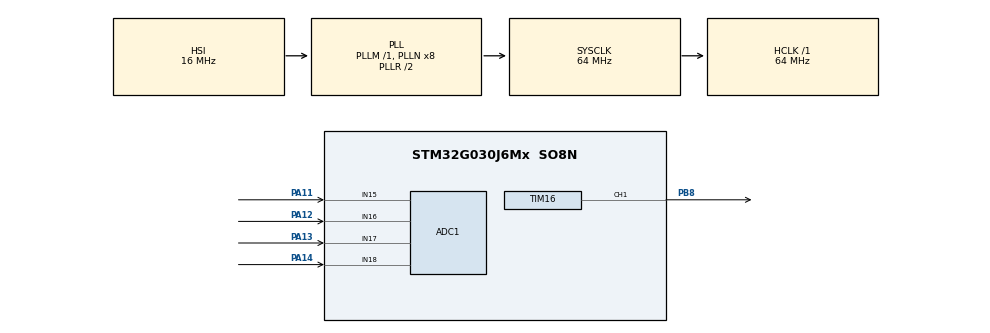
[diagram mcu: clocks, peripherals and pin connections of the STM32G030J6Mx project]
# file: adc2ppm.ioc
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ADC1.NbrOfConversion=1
ADC1.NbrOfConversionFlag=0
ADC1.SamplingTimeCommon1=ADC_SAMPLETIME_19CYCLES_5
ADC1.SelectedChannel=ADC_CHANNEL_15|ADC_CHANNEL_16|ADC_CHANNEL_17|ADC_CHANNEL_18
ADC1.Sequencer=NOT_FULLY_CONFIGURABLE
ADC1.master=1
Dma.ADC1.0.Direction=DMA_PERIPH_TO_MEMORY
Dma.ADC1.0.EventEnable=DISABLE
Dma.ADC1.0.Instance=DMA1_Channel1
Dma.ADC1.0.MemDataAlignment=DMA_MDATAALIGN_HALFWORD
Dma.ADC1.0.MemInc=DMA_MINC_ENABLE
Dma.ADC1.0.Mode=DMA_NORMAL
Dma.ADC1.0.PeriphDataAlignment=DMA_PDATAALIGN_HALFWORD
Dma.ADC1.0.PeriphInc=DMA_PINC_DISABLE
Dma.ADC1.0.Polarity=HAL_DMAMUX_REQ_GEN_RISING
Dma.ADC1.0.Priority=DMA_PRIORITY_LOW
Dma.ADC1.0.RequestNumber=1
Dma.ADC1.0.SignalID=NONE
Dma.ADC1.0.SyncEnable=DISABLE
Dma.ADC1.0.SyncPolarity=HAL_DMAMUX_SYNC_NO_EVENT
Dma.ADC1.0.SyncRequestNumber=1
Dma.ADC1.0.SyncSignalID=NONE
Dma.Request0=ADC1
Mcu.Family=STM32G0
Mcu.Name=STM32G030J6Mx
Mcu.Package=SO8N
NRST__PA0__PA1__PA2.StandardMode=true
NVIC.DMA1_Channel1_IRQn=true\:0\:0\:false\:false\:true\:false\:true\:true
NVIC.TIM16_IRQn=true\:0\:0\:false\:false\:true\:true\:true\:true
PA11\ [PA9].Mode=IN15
PA11\ [PA9].Signal=ADC1_IN15
PA12\ [PA10].Mode=IN16
PA12\ [PA10].Signal=ADC1_IN16
PA13.Mode=IN17
PA13.Signal=ADC1_IN17
PA14-BOOT0.Mode=IN18
PA14-BOOT0.Signal=ADC1_IN18
PA14-BOOT0__PA15__PB5__PB6.StandardMode=true
PB0__PB1__PA8__PA11\ [PA9].StandardMode=true
PB8.Signal=S_TIM16_CH1
PC14-OSC32_IN\ (PC14)__PB7__PB8__PB9.StandardMode=true
ProjectManager.HeapSize=0x200
ProjectManager.StackSize=0x400
ProjectManager.TargetToolchain=Makefile
RCC.ADCFreq_Value=64000000
RCC.AHBFreq_Value=64000000
RCC.CortexFreq_Value=64000000
RCC.EXTERNAL_CLOCK_VALUE=12288000
RCC.HCLKFreq_Value=64000000
RCC.HSE_VALUE=8000000
RCC.HSI_VALUE=16000000
RCC.LSE_VALUE=32768
RCC.SYSCLKFreq_VALUE=64000000
RCC.SYSCLKSource=RCC_SYSCLKSOURCE_PLLCLK
RCC.VCOOutputFreq_Value=128000000
SH.S_TIM16_CH1.0=TIM16_CH1,Output Compare1 CH1
TIM16.AutoReloadPreload=TIM_AUTORELOAD_PRELOAD_ENABLE
TIM16.Channel=TIM_CHANNEL_1
TIM16.OC1Preload=ENABLE
TIM16.OCIdleState_1=TIM_OCIDLESTATE_RESET
TIM16.OCMode_1=TIM_OCMODE_TOGGLE
TIM16.OCPolarity_1=TIM_OCPOLARITY_HIGH
TIM16.Prescaler=15
TIM16.Pulse=0
VP_TIM16_VS_ClockSourceINT.Mode=Enable_Timer
board=custom

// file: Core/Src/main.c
/* USER CODE BEGIN Header */
/**
 ******************************************************************************
 * @file           : main.c
 * @brief          : Main program body
 ******************************************************************************
 * @attention
 *
 * Copyright (c) 2023 STMicroelectronics.
 * All rights reserved.
 *
 * This software is licensed under terms that can be found in the LICENSE file
 * in the root directory of this software component.
 * If no LICENSE file comes with this software, it is provided AS-IS.
 *
 ******************************************************************************
 */
/* USER CODE END Header */
#include "main.h"

/* USER CODE BEGIN Includes */
#include <stdbool.h>
#include <stdint.h>
/* USER CODE END Includes */

/* USER CODE BEGIN PD */
#define CHANNELS 8
#define PERIODS ((CHANNELS + 1) * 2)

#define P_INDEX (1333)		 // 300us
#define P_H (8000 - P_INDEX) // 2000ms
#define P_M (6000 - P_INDEX) // 1500ms
#define P_L (4000 - P_INDEX) // 1000ms

#define ADC_LO 800
#define ADC_HI 3160

/* USER CODE END PD */

ADC_HandleTypeDef hadc1;
DMA_HandleTypeDef hdma_adc1;

TIM_HandleTypeDef htim16;

/* USER CODE BEGIN PV */
static volatile uint32_t pattern[PERIODS];
static volatile bool upd_request = false;
static volatile uint16_t adc_values[4] = {0};
/* USER CODE END PV */

void SystemClock_Config(void);
static void MX_GPIO_Init(void);
static void MX_DMA_Init(void);
static void MX_ADC1_Init(void);
static void MX_TIM16_Init(void);

/* USER CODE BEGIN 0 */
static uint32_t map(uint32_t x, uint32_t in_min, uint32_t in_max, uint32_t out_min, uint32_t out_max)
{
	if(x < in_min) x = in_min;
	if(x > in_max) x = in_max;
	return (x - in_min) * (out_max - out_min) / (in_max - in_min) + out_min;
}

static void calc_fill(void)
{
#define MAX_TIM_CLK 80000 // equal to 20ms
	volatile uint32_t fill = 0;
	for(volatile uint32_t i = 0; i < PERIODS - 1; i++)
	{
		fill += pattern[i];
	}
	pattern[PERIODS - 1] = MAX_TIM_CLK - fill;
}

void tim_irq(void)
{
	static volatile uint32_t phase = 0;

	TIM16->ARR = pattern[phase];

	if(++phase >= PERIODS)
	{
		phase = 0;

		pattern[1] = map(adc_values[3], ADC_LO, ADC_HI, P_L, P_H);
		pattern[3] = map(adc_values[1], ADC_LO, ADC_HI, P_L, P_H);
		pattern[5] = map(adc_values[2], ADC_LO, ADC_HI, P_L, P_H);
		pattern[7] = map(adc_values[0], ADC_LO, ADC_HI, P_L, P_H);
		calc_fill();

		upd_request = true;
	}
}
/* USER CODE END 0 */

int main(void)
{

	/* MCU Configuration--------------------------------------------------------*/

	/* Reset of all peripherals, Initializes the Flash interface and the Systick. */
	HAL_Init();

	/* Configure the system clock */
	SystemClock_Config();

	/* Initialize all configured peripherals */
	MX_GPIO_Init();
	MX_DMA_Init();
	MX_ADC1_Init();
	MX_TIM16_Init();

	/* Infinite loop */
	/* USER CODE BEGIN WHILE */

	for(uint32_t i = 0; i < PERIODS - 1; i++)
	{
		pattern[i] = i & 1 ? P_M : P_INDEX;
	}
	calc_fill();

	HAL_ADCEx_Calibration_Start(&hadc1);

	HAL_TIM_OC_Start_IT(&htim16, TIM_CHANNEL_1);
	while(1)
	{
		if(upd_request)
		{
			HAL_ADC_Start_DMA(&hadc1, (uint32_t *)&adc_values, 4);
			upd_request = false;
		}
		/* USER CODE END WHILE */

	}
}

void SystemClock_Config(void)
{
	RCC_OscInitTypeDef RCC_OscInitStruct = {0};
	RCC_ClkInitTypeDef RCC_ClkInitStruct = {0};

	/** Configure the main internal regulator output voltage
	 */
	HAL_PWREx_ControlVoltageScaling(PWR_REGULATOR_VOLTAGE_SCALE1);

	/** Initializes the RCC Oscillators according to the specified parameters
	 * in the RCC_OscInitTypeDef structure.
	 */
	RCC_OscInitStruct.OscillatorType = RCC_OSCILLATORTYPE_HSI;
	RCC_OscInitStruct.HSIState = RCC_HSI_ON;
	RCC_OscInitStruct.HSIDiv = RCC_HSI_DIV1;
	RCC_OscInitStruct.HSICalibrationValue = RCC_HSICALIBRATION_DEFAULT;
	RCC_OscInitStruct.PLL.PLLState = RCC_PLL_ON;
	RCC_OscInitStruct.PLL.PLLSource = RCC_PLLSOURCE_HSI;
	RCC_OscInitStruct.PLL.PLLM = RCC_PLLM_DIV1;
	RCC_OscInitStruct.PLL.PLLN = 8;
	RCC_OscInitStruct.PLL.PLLP = RCC_PLLP_DIV2;
	RCC_OscInitStruct.PLL.PLLR = RCC_PLLR_DIV2;
	if(HAL_RCC_OscConfig(&RCC_OscInitStruct) != HAL_OK)
	{
		Error_Handler();
	}

	/** Initializes the CPU, AHB and APB buses clocks
	 */
	RCC_ClkInitStruct.ClockType = RCC_CLOCKTYPE_HCLK | RCC_CLOCKTYPE_SYSCLK | RCC_CLOCKTYPE_PCLK1;
	RCC_ClkInitStruct.SYSCLKSource = RCC_SYSCLKSOURCE_PLLCLK;
	RCC_ClkInitStruct.AHBCLKDivider = RCC_SYSCLK_DIV1;
	RCC_ClkInitStruct.APB1CLKDivider = RCC_HCLK_DIV1;

	if(HAL_RCC_ClockConfig(&RCC_ClkInitStruct, FLASH_LATENCY_2) != HAL_OK)
	{
		Error_Handler();
	}
}

static void MX_ADC1_Init(void)
{

	ADC_ChannelConfTypeDef sConfig = {0};

	/** Configure the global features of the ADC (Clock, Resolution, Data Alignment and number of conversion)
	 */
	hadc1.Instance = ADC1;
	hadc1.Init.ClockPrescaler = ADC_CLOCK_SYNC_PCLK_DIV2;
	hadc1.Init.Resolution = ADC_RESOLUTION_12B;
	hadc1.Init.DataAlign = ADC_DATAALIGN_RIGHT;
	hadc1.Init.ScanConvMode = ADC_SCAN_SEQ_FIXED;
	hadc1.Init.EOCSelection = ADC_EOC_SINGLE_CONV;
	hadc1.Init.LowPowerAutoWait = DISABLE;
	hadc1.Init.LowPowerAutoPowerOff = DISABLE;
	hadc1.Init.ContinuousConvMode = DISABLE;
	hadc1.Init.NbrOfConversion = 1;
	hadc1.Init.DiscontinuousConvMode = DISABLE;
	hadc1.Init.ExternalTrigConv = ADC_SOFTWARE_START;
	hadc1.Init.ExternalTrigConvEdge = ADC_EXTERNALTRIGCONVEDGE_NONE;
	hadc1.Init.DMAContinuousRequests = DISABLE;
	hadc1.Init.Overrun = ADC_OVR_DATA_PRESERVED;
	hadc1.Init.SamplingTimeCommon1 = ADC_SAMPLETIME_19CYCLES_5;
	hadc1.Init.OversamplingMode = DISABLE;
	hadc1.Init.TriggerFrequencyMode = ADC_TRIGGER_FREQ_HIGH;
	if(HAL_ADC_Init(&hadc1) != HAL_OK)
	{
		Error_Handler();
	}

	/** Configure Regular Channel
	 */
	sConfig.Channel = ADC_CHANNEL_15;
	sConfig.Rank = ADC_RANK_CHANNEL_NUMBER;
	if(HAL_ADC_ConfigChannel(&hadc1, &sConfig) != HAL_OK)
	{
		Error_Handler();
	}

	/** Configure Regular Channel
	 */
	sConfig.Channel = ADC_CHANNEL_16;
	if(HAL_ADC_ConfigChannel(&hadc1, &sConfig) != HAL_OK)
	{
		Error_Handler();
	}

	/** Configure Regular Channel
	 */
	sConfig.Channel = ADC_CHANNEL_17;
	if(HAL_ADC_ConfigChannel(&hadc1, &sConfig) != HAL_OK)
	{
		Error_Handler();
	}

	/** Configure Regular Channel
	 */
	sConfig.Channel = ADC_CHANNEL_18;
	if(HAL_ADC_ConfigChannel(&hadc1, &sConfig) != HAL_OK)
	{
		Error_Handler();
	}
}

static void MX_TIM16_Init(void)
{

	TIM_OC_InitTypeDef sConfigOC = {0};
	TIM_BreakDeadTimeConfigTypeDef sBreakDeadTimeConfig = {0};

	htim16.Instance = TIM16;
	htim16.Init.Prescaler = 15;
	htim16.Init.CounterMode = TIM_COUNTERMODE_UP;
	htim16.Init.Period = 65535;
	htim16.Init.ClockDivision = TIM_CLOCKDIVISION_DIV1;
	htim16.Init.RepetitionCounter = 0;
	htim16.Init.AutoReloadPreload = TIM_AUTORELOAD_PRELOAD_ENABLE;
	if(HAL_TIM_Base_Init(&htim16) != HAL_OK)
	{
		Error_Handler();
	}
	if(HAL_TIM_OC_Init(&htim16) != HAL_OK)
	{
		Error_Handler();
	}
	sConfigOC.OCMode = TIM_OCMODE_TOGGLE;
	sConfigOC.Pulse = 0;
	sConfigOC.OCPolarity = TIM_OCPOLARITY_HIGH;
	sConfigOC.OCNPolarity = TIM_OCNPOLARITY_HIGH;
	sConfigOC.OCFastMode = TIM_OCFAST_DISABLE;
	sConfigOC.OCIdleState = TIM_OCIDLESTATE_RESET;
	sConfigOC.OCNIdleState = TIM_OCNIDLESTATE_RESET;
	if(HAL_TIM_OC_ConfigChannel(&htim16, &sConfigOC, TIM_CHANNEL_1) != HAL_OK)
	{
		Error_Handler();
	}
	__HAL_TIM_ENABLE_OCxPRELOAD(&htim16, TIM_CHANNEL_1);
	sBreakDeadTimeConfig.OffStateRunMode = TIM_OSSR_DISABLE;
	sBreakDeadTimeConfig.OffStateIDLEMode = TIM_OSSI_DISABLE;
	sBreakDeadTimeConfig.LockLevel = TIM_LOCKLEVEL_OFF;
	sBreakDeadTimeConfig.DeadTime = 0;
	sBreakDeadTimeConfig.BreakState = TIM_BREAK_DISABLE;
	sBreakDeadTimeConfig.BreakPolarity = TIM_BREAKPOLARITY_HIGH;
	sBreakDeadTimeConfig.BreakFilter = 0;
	sBreakDeadTimeConfig.AutomaticOutput = TIM_AUTOMATICOUTPUT_DISABLE;
	if(HAL_TIMEx_ConfigBreakDeadTime(&htim16, &sBreakDeadTimeConfig) != HAL_OK)
	{
		Error_Handler();
	}
	HAL_TIM_MspPostInit(&htim16);
}

static void MX_DMA_Init(void)
{

	/* DMA controller clock enable */
	__HAL_RCC_DMA1_CLK_ENABLE();

	/* DMA interrupt init */
	/* DMA1_Channel1_IRQn interrupt configuration */
	HAL_NVIC_SetPriority(DMA1_Channel1_IRQn, 0, 0);
	HAL_NVIC_EnableIRQ(DMA1_Channel1_IRQn);
}

static void MX_GPIO_Init(void)
{

	/* GPIO Ports Clock Enable */
	__HAL_RCC_GPIOB_CLK_ENABLE();
	__HAL_RCC_GPIOA_CLK_ENABLE();

}

void Error_Handler(void)
{
	__disable_irq();
	while(1)
	{
	}
}
